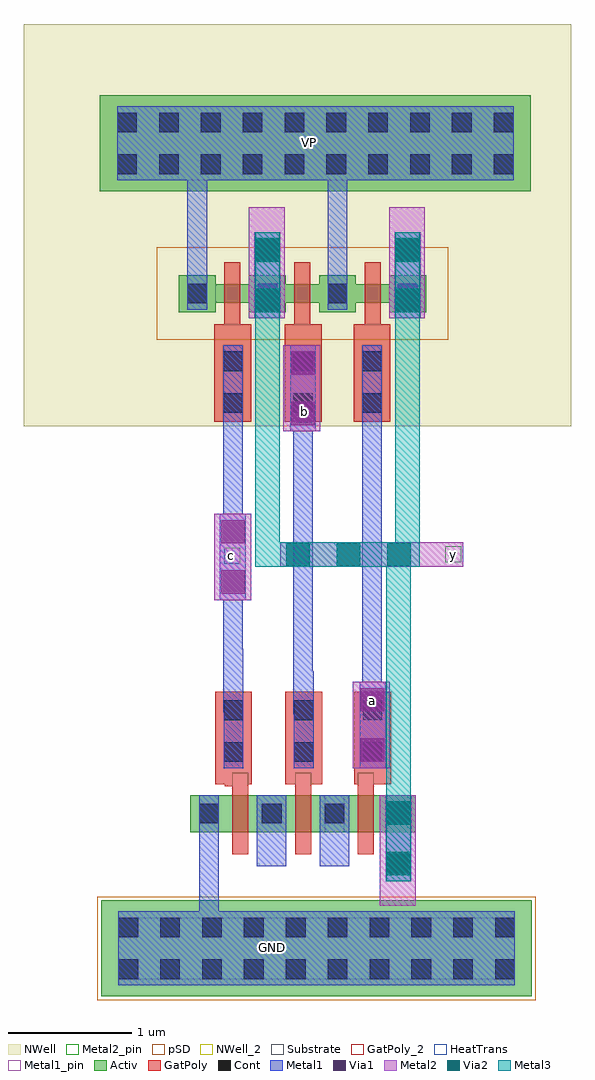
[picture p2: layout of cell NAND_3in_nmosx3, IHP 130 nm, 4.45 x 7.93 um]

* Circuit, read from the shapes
.subckt NAND_3in_nmosx3 GND VP a b c y
XM1 n1 c GND GND sg13_lv_nmos w=0.3u l=0.13u
XM2 n2 b n1 GND sg13_lv_nmos w=0.3u l=0.13u
XM3 y a n2 GND sg13_lv_nmos w=0.3u l=0.13u
XM4 y c VP VP sg13_lv_pmos w=0.15u l=0.13u
XM5 VP b y VP sg13_lv_pmos w=0.15u l=0.13u
XM6 y a VP VP sg13_lv_pmos w=0.15u l=0.13u
.ends

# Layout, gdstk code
from math import pi, radians
import gdstk
lib = gdstk.Library(unit=1e-6, precision=1e-09)
def R(c, l, rs):  # rectangles x0, y0, x1, y1
    for r in rs: c.add(gdstk.rectangle(r[:2], r[2:], *l))
def A(c, l, x, y, w, h, nx, ny, dx, dy):  # array of equal rectangles
    R(c, l, [(x+i*dx, y+j*dy, x+i*dx+w, y+j*dy+h) for i in range(nx) for j in range(ny)])
Activ = (1, 0)
GatPoly = (5, 0)
GatPoly_2 = (5, 2)
Cont = (6, 0)
Metal1 = (8, 0)
Metal1_pin = (8, 2)
Metal2 = (10, 0)
Metal2_pin = (10, 2)
pSD = (14, 0)
Via1 = (19, 0)
Via2 = (29, 0)
Metal3 = (30, 0)
NWell = (31, 0)
NWell_2 = (31, 2)
Substrate = (40, 0)
HeatTrans = (51, 0)

via_4 = lib.new_cell('Via$4')
R(via_4, Metal1, [(-0.105,-0.35,0.105,0.35)])
R(via_4, Metal2, [(-0.1,-0.35,0.1,0.35)])
R(via_4, Via1, [(-0.095,-0.3,0.095,-0.11), (-0.095,0.11,0.095,0.3)])

via_7 = lib.new_cell('Via$7')
R(via_7, Metal2, [(-0.1,-0.555,0.1,0.555)])
A(via_7, Via2, -0.095, -0.505, 0.19, 0.19, 1, 3, 0, 0.41)
R(via_7, Metal3, [(-0.1,-0.555,0.1,0.555)])

nmos_4 = lib.new_cell('nmos$4')
A(nmos_4, Activ, 0, 0, 0.3, 0.3, 4, 1, 0.51, 0)
R(nmos_4, Activ, [(0,0,1.83,0.3)])
A(nmos_4, GatPoly, 0.34, -0.18, 0.13, 0.66, 3, 1, 0.51, 0)
R(nmos_4, GatPoly_2, [(0.34,-0.18,0.47,0.48)])
A(nmos_4, Cont, 0.07, 0.07, 0.16, 0.16, 4, 1, 0.51, 0)
A(nmos_4, Metal1, 0.07, 0, 0.16, 0.3, 4, 1, 0.51, 0)
R(nmos_4, Metal1_pin, [(0.07,0,0.23,0.3), (0.58,0,0.74,0.3)])
A(nmos_4, HeatTrans, 0.34, -0.18, 0.13, 0.66, 3, 1, 0.51, 0)
nmos_4.add(gdstk.Label('nmos', (0.405,0.15), layer=63, texttype=0))
nmos_4.add(gdstk.Label('nmos', (0.405,0.15), layer=51, texttype=0))
nmos_4.add(gdstk.Label('nmos', (0.915,0.15), layer=51, texttype=0))
nmos_4.add(gdstk.Label('nmos', (1.425,0.15), layer=51, texttype=0))

ntap1_1 = lib.new_cell('ntap1$1')
R(ntap1_1, Activ, [(0,0,3.5,0.78)])
A(ntap1_1, Cont, 0.14, 0.14, 0.16, 0.16, 10, 2, 0.34, 0.34)
R(ntap1_1, Metal1, [(0.14,0.09,3.36,0.69)])
R(ntap1_1, Metal1_pin, [(0.14,0.09,3.36,0.69), (0.14,0.14,3.36,0.64)])
R(ntap1_1, NWell, [(-0.24,-0.24,3.74,1.02), (0,0,3.5,0.78)])
R(ntap1_1, NWell_2, [(0,0,3.5,0.78)])
ntap1_1.add(gdstk.Label('well', (1.75,0.01), layer=31, texttype=0))
ntap1_1.add(gdstk.Label('well', (1.75,0.01), layer=63, texttype=0))

ptap1_3 = lib.new_cell('ptap1$3')
R(ptap1_3, Activ, [(0,0,3.5,0.78)])
A(ptap1_3, Cont, 0.14, 0.14, 0.16, 0.16, 10, 2, 0.34, 0.34)
R(ptap1_3, Metal1, [(0.14,0.09,3.36,0.69), (0.14,0.14,3.36,0.64)])
R(ptap1_3, Metal1_pin, [(0.14,0.14,3.36,0.64)])
R(ptap1_3, pSD, [(-0.03,-0.03,3.53,0.81)])
R(ptap1_3, Substrate, [(0,0,3.5,0.78)])
ptap1_3.add(gdstk.Label('sub!', (1.75,0.01), layer=63, texttype=0))
ptap1_3.add(gdstk.Label('sub!', (1.75,0.01), layer=40, texttype=0))

via_5 = lib.new_cell('Via$5')
R(via_5, Metal2, [(-0.1,-0.35,0.1,0.35)])
R(via_5, Via2, [(-0.095,-0.3,0.095,-0.11), (-0.095,0.11,0.095,0.3)])
R(via_5, Metal3, [(-0.1,-0.35,0.1,0.35)])

via_6 = lib.new_cell('Via$6')
R(via_6, GatPoly, [(-0.32,-0.15,0.32,0.15)])
R(via_6, Cont, [(-0.25,-0.08,-0.09,0.08), (0.09,-0.08,0.25,0.08)])
R(via_6, Metal1, [(-0.3,-0.08,0.3,0.08)])

pmos_1 = lib.new_cell('pmos$1')
A(pmos_1, Activ, 0, 0, 0.3, 0.3, 4, 1, 0.57, 0)
R(pmos_1, Activ, [(0,0.075,2.01,0.225)])
A(pmos_1, GatPoly, 0.37, -0.105, 0.13, 0.51, 3, 1, 0.57, 0)
R(pmos_1, GatPoly, [(0.37,-0.105,0.5,0.405)])
A(pmos_1, Cont, 0.07, 0.07, 0.16, 0.16, 4, 1, 0.57, 0)
A(pmos_1, Metal1, 0.64, 0.02, 0.16, 0.26, 3, 1, 0.57, 0)
R(pmos_1, Metal1, [(0.07,0.02,0.23,0.28), (0.07,0.02,0.23,0.28), (0.64,0.02,0.8,0.28)])
R(pmos_1, pSD, [(-0.18,-0.225,2.19,0.525)])
R(pmos_1, NWell, [(-0.31,-0.31,2.32,0.61)])
R(pmos_1, Substrate, [(1.71,0,2.01,0.3)])
A(pmos_1, HeatTrans, 0.37, -0.105, 0.13, 0.51, 3, 1, 0.57, 0)
pmos_1.add(gdstk.Label('pmos', (0.435,0.15), layer=63, texttype=0))
pmos_1.add(gdstk.Label('pmos', (0.435,0.15), layer=51, texttype=0))
pmos_1.add(gdstk.Label('pmos', (1.005,0.15), layer=51, texttype=0))
pmos_1.add(gdstk.Label('pmos', (1.575,0.15), layer=51, texttype=0))

nand_3in_nmosx3 = lib.new_cell('NAND_3in_nmosx3')
R(nand_3in_nmosx3, GatPoly, [(0.115,-3.025,0.245,-2.915), (0.685,-3.025,0.815,-2.915), (0.035,-3.005,0.335,-2.895), (0.605,-3.005,0.905,-2.895), (1.165,-3.005,1.465,-2.895), (0.03,0.58,0.33,0.73), (0.6,0.58,0.9,0.73), (1.16,0.58,1.46,0.73), (0.68,0.68,0.81,0.77), (1.25,0.68,1.38,0.77)])
R(nand_3in_nmosx3, Metal1, [(-0.095,-4.15,0.065,-3.37), (0.375,-3.675,0.615,-3.415), (0.885,-3.675,1.125,-3.415), (0.375,-3.435,0.615,-3.095), (0.885,-3.435,1.125,-3.095), (0.67,-2.44,0.835,-2.09), (0.1,-2.42,0.265,-1.91), (0.67,-2.21,0.83,-1.27), (1.23,-2.21,1.39,-1.27), (0.1,-1.91,0.26,-0.56), (0.67,-1.31,0.83,-0.37), (1.23,-1.31,1.39,-0.37), (0.1,-0.62,0.26,-0.04), (1.23,-0.53,1.39,0), (0.67,-0.37,0.83,-0.11), (0.95,1,1.11,1.2), (-0.19,1.01,-0.03,1.15), (-0.19,1.115,-0.03,1.99), (0.95,1.115,1.11,1.94)])
R(nand_3in_nmosx3, Metal1_pin, [(0.44,-4.405,0.57,-4.275), (0.74,2.15,0.87,2.28)])
R(nand_3in_nmosx3, Metal2, [(1.375,-3.995,1.665,-3.795), (1.375,-3.795,1.665,-3.095), (1.155,-2.875,1.455,-2.175), (0.03,-1.51,0.33,-0.81), (1.62,-1.24,2.05,-1.04), (0.59,-0.14,0.89,0.56), (0.31,0.78,0.6,0.98), (1.45,0.78,1.74,0.98), (0.31,0.98,0.6,1.68), (1.45,0.98,1.74,1.68)])
R(nand_3in_nmosx3, Metal2_pin, [(1.255,-2.385,1.385,-2.255), (0.11,-1.215,0.24,-1.085), (1.905,-1.205,2.035,-1.075), (0.69,-0.07,0.82,0.06)])
R(nand_3in_nmosx3, Metal3, [(1.425,-3.105,1.625,-2.905), (1.425,-2.905,1.625,-2.5), (1.425,-2.5,1.625,-1.15), (0.36,-1.24,0.56,-0.97), (0.38,-1.24,0.565,-1.04), (1.66,-1.24,1.7,-1.09), (1.5,-1.09,1.7,0.17), (0.36,-0.97,0.56,0.26), (1.5,-0.03,1.7,0.62), (0.36,0.08,0.56,0.78), (1.5,0.62,1.7,0.72), (1.5,0.71,1.7,0.87)])
R(nand_3in_nmosx3, NWell, [(-1.52,-0.1,-0.85,3.17), (-0.85,-0.1,2.93,3.17)])
nand_3in_nmosx3.add(gdstk.Reference(via_4, (1.525,-3.445), rotation=pi))
nand_3in_nmosx3.add(gdstk.Reference(via_4, (1.315,-2.525), rotation=pi))
nand_3in_nmosx3.add(gdstk.Reference(via_4, (0.18,-1.16), rotation=pi))
nand_3in_nmosx3.add(gdstk.Reference(via_4, (0.75,0.21), rotation=pi))
nand_3in_nmosx3.add(gdstk.Reference(via_4, (0.46,1.13), rotation=pi))
nand_3in_nmosx3.add(gdstk.Reference(via_4, (1.6,1.13), rotation=pi))
nand_3in_nmosx3.add(gdstk.Reference(via_7, (1.12,-1.14), rotation=3*pi/2))
nand_3in_nmosx3.add(gdstk.Reference(nmos_4, (1.665,-3.095), rotation=pi))
nand_3in_nmosx3.add(gdstk.Reference(ntap1_1, (-0.9,1.81)))
nand_3in_nmosx3.add(gdstk.Reference(ptap1_3, (-0.89,-4.73)))
nand_3in_nmosx3.add(gdstk.Reference(via_5, (1.525,-3.445), rotation=pi))
nand_3in_nmosx3.add(gdstk.Reference(via_5, (0.46,1.13), rotation=pi))
nand_3in_nmosx3.add(gdstk.Reference(via_5, (1.6,1.13), rotation=pi))
nand_3in_nmosx3.add(gdstk.Reference(via_6, (0.185,-2.575), rotation=3*pi/2))
nand_3in_nmosx3.add(gdstk.Reference(via_6, (0.755,-2.575), rotation=3*pi/2))
nand_3in_nmosx3.add(gdstk.Reference(via_6, (1.315,-2.575), rotation=3*pi/2))
nand_3in_nmosx3.add(gdstk.Reference(via_6, (0.18,0.26), rotation=3*pi/2))
nand_3in_nmosx3.add(gdstk.Reference(via_6, (0.75,0.26), rotation=3*pi/2))
nand_3in_nmosx3.add(gdstk.Reference(via_6, (1.31,0.26), rotation=3*pi/2))
nand_3in_nmosx3.add(gdstk.Reference(pmos_1, (1.75,1.13), rotation=pi))
nand_3in_nmosx3.add(gdstk.Label('VP', (0.8,2.21), layer=8, texttype=25))
nand_3in_nmosx3.add(gdstk.Label('GND', (0.505,-4.335), layer=8, texttype=25))
nand_3in_nmosx3.add(gdstk.Label('y', (1.97,-1.14), layer=10, texttype=25))
nand_3in_nmosx3.add(gdstk.Label('b', (0.76,0.02), layer=10, texttype=25))
nand_3in_nmosx3.add(gdstk.Label('c', (0.17,-1.15), layer=10, texttype=25))
nand_3in_nmosx3.add(gdstk.Label('a', (1.315,-2.325), layer=10, texttype=25))

lib.write_gds('NAND_3in_nmosx3.gds')
